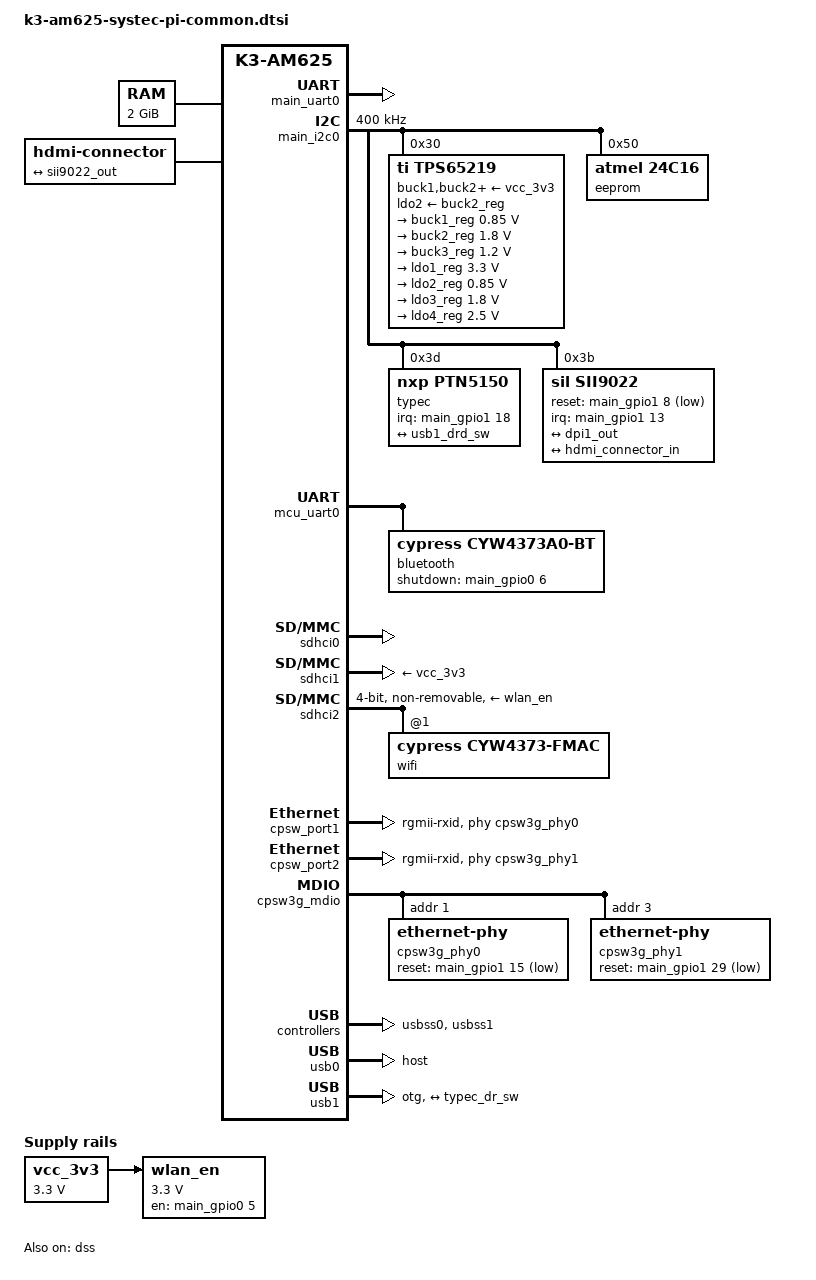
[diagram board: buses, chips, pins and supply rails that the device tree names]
/*
 * Copyright (C) 2023 SYSTEC electronic AG, All Rights Reserved
 *
 * This program is free software; you can redistribute it and/or modify
 * it under the terms of the GNU General Public License version 2 as
 * published by the Free Software Foundation.
 */

/ {
	aliases {
		serial0 = &mcu_uart0;
		serial2 = &main_uart0;
		mmc0 = &sdhci0;
		mmc1 = &sdhci1;
		mmc2 = &sdhci2;
		spi0 = &ospi0;
		ethernet0 = &cpsw_port1;
		ethernet1 = &cpsw_port2;
		usb0 = &usb0;
		usb1 = &usb1;
	};

	chosen {
		stdout-path = "serial2:115200n8";
		bootargs = "console=ttyS2,115200n8 earlycon=ns16550a,mmio32,0x02800000";
	};

	memory@80000000 {
		device_type = "memory";
		/* 2G RAM */
		reg = <0x00000000 0x80000000 0x00000000 0x80000000>;
	};

	reserved-memory {
		#address-cells = <2>;
		#size-cells = <2>;
		ranges;

		ramoops@9c700000 {
			compatible = "ramoops";
			reg = <0x00 0x9c700000 0x00 0x00100000>;
			record-size = <0x8000>;
			console-size = <0x8000>;
			ftrace-size = <0x00>;
			pmsg-size = <0x8000>;
		};

		/* global cma region */
		linux,cma {
			compatible = "shared-dma-pool";
			reusable;
			size = <0x00 0x8000000>;
			linux,cma-default;
		};

		rtos_ipc_memory_region: ipc-memories@9c800000 {
			compatible = "shared-dma-pool";
			reg = <0x00 0x9c800000 0x00 0x00300000>;
			no-map;
		};

		mcu_m4fss_dma_memory_region: m4f-dma-memory@9cb00000 {
			compatible = "shared-dma-pool";
			reg = <0x00 0x9cb00000 0x00 0x100000>;
			no-map;
		};

		mcu_m4fss_memory_region: m4f-memory@9cc00000 {
			compatible = "shared-dma-pool";
			reg = <0x00 0x9cc00000 0x00 0xe00000>;
			no-map;
		};

		wkup_r5fss0_core0_dma_memory_region: r5f-dma-memory@9da00000 {
			compatible = "shared-dma-pool";
			reg = <0x00 0x9da00000 0x00 0x00100000>;
			no-map;
		};

		wkup_r5fss0_core0_memory_region: r5f-memory@9db00000 {
			compatible = "shared-dma-pool";
			reg = <0x00 0x9db00000 0x00 0x00c00000>;
			no-map;
		};

		secure_tfa_ddr: tfa@9e780000 {
			reg = <0x00 0x9e780000 0x00 0x80000>;
			alignment = <0x1000>;
			no-map;
		};

		secure_ddr: optee@9e800000 {
			reg = <0x00 0x9e800000 0x00 0x01800000>; /* for OP-TEE */
			alignment = <0x1000>;
			no-map;
		};

		framebuffer: framebuffer@ff700000 {
			reg = <0x00 0xff700000 0x00 0x008ca000>;
			no-map;
		};
	};

	vcc_3v3: regulator-1 {
		/* from so-dimm pins 137-146 */
		compatible = "regulator-fixed";
		regulator-name = "vcc_3v3";
		regulator-min-microvolt = <3300000>;
		regulator-max-microvolt = <3300000>;
		regulator-always-on;
		regulator-boot-on;
	};

	wlan_en: regulator-3 {
		compatible = "regulator-fixed";
		regulator-name = "wlan_en";
		regulator-min-microvolt = <3300000>;
		regulator-max-microvolt = <3300000>;
		enable-active-high;
		regulator-always-on;
		vin-supply = <&vcc_3v3>;
		gpio = <&main_gpio0 5 GPIO_ACTIVE_HIGH>;
	};

	hdmi0: connector {
		compatible = "hdmi-connector";
		label = "hdmi";
		type = "a";
		port {
			hdmi_connector_in: endpoint {
				remote-endpoint = <&sii9022_out>;
			};
		};
	};
};

&a53_opp_table {
	/* Requires VDD_CORE to be at 0.85V */
	opp-1400000000 {
		opp-hz = /bits/ 64 <1400000000>;
		opp-supported-hw = <0x01 0x0004>;
	};
};

&main_pmx0 {
	// `system0_pins_default` has to be split:

	pmic_irq_pins_default: pmic-irq-pins-default {
		pinctrl-single,pins = <
			AM62X_IOPAD(0x01f4, PIN_INPUT, 0) /* (D16) EXTINTn */
		>;
	};

	ext_refclk0_clkout0: ext-refclk0-clkout0 {
		pinctrl-single,pins = <
			AM62X_IOPAD(0x01f0, PIN_OUTPUT, 5) /* (A18) EXT_REFCLK1.CLKOUT0 */
		>;
	};
};

&wkup_uart0 {
	/* WKUP UART0 is used by DM firmware */
	status = "reserved";
};

// SERVICE
&main_uart0 {
	status = "okay";
	pinctrl-names = "default";
	pinctrl-0 = <&uart0_service_pins_default>;
	interrupts-extended = <&gic500 GIC_SPI 178 IRQ_TYPE_LEVEL_HIGH>,
				<&main_pmx0 0x1c8>; /* (D14) UART0_RXD PADCONFIG114 */
	interrupt-names = "irq", "wakeup";
};

&main_uart1 {
	/* Main UART1 is used by TIFS firmware */
	status = "reserved";
};

&mcu_m4fss {
	mboxes = <&mailbox0_cluster0 &mbox_m4_0>;
	memory-region = <&mcu_m4fss_dma_memory_region>,
			<&mcu_m4fss_memory_region>;
};

&wkup_r5fss0 {
	/* Runs dedicated Device Management firmware */
	status = "reserved";
};

&mailbox0_cluster0 {
	mbox_m4_0: mbox-m4-0 {
		ti,mbox-rx = <0 0 0>;
		ti,mbox-tx = <1 0 0>;
	};
};

&main_i2c0 {
	status = "okay";
	pinctrl-names = "default";
	pinctrl-0 = <&i2c0board_pins_default>;
	clock-frequency = <400000>;

	tps65219: pmic@30 {
		compatible = "ti,tps65219";
		reg = <0x30>;
		buck1-supply = <&vcc_3v3>;
		buck2-supply = <&vcc_3v3>;
		buck3-supply = <&vcc_3v3>;
		ldo1-supply = <&vcc_3v3>;
		ldo2-supply = <&buck2_reg>;
		ldo3-supply = <&vcc_3v3>;
		ldo4-supply = <&vcc_3v3>;

		pinctrl-names = "default";
		pinctrl-0 = <&pmic_irq_pins_default>;

		interrupt-parent = <&gic500>;
		interrupts = <GIC_SPI 224 IRQ_TYPE_LEVEL_HIGH>;
		ti,power-button;

		regulators {
			buck1_reg: buck1 {
				regulator-name = "VDD_CORE";
				regulator-min-microvolt = <850000>;
				regulator-max-microvolt = <850000>;
				regulator-boot-on;
				regulator-always-on;
			};

			buck2_reg: buck2 {
				regulator-name = "VCC1V8_SYS";
				regulator-min-microvolt = <1800000>;
				regulator-max-microvolt = <1800000>;
				regulator-boot-on;
				regulator-always-on;
			};

			buck3_reg: buck3 {
				regulator-name = "VDD_LPDDR4";
				regulator-min-microvolt = <1200000>;
				regulator-max-microvolt = <1200000>;
				regulator-boot-on;
				regulator-always-on;
			};

			ldo1_reg: ldo1 {
				regulator-name = "VDDSHV_SDIO";
				regulator-min-microvolt = <3300000>;
				regulator-max-microvolt = <3300000>;
			};

			ldo2_reg: ldo2 {
				regulator-name = "VDDAR_CORE";
				regulator-min-microvolt = <850000>;
				regulator-max-microvolt = <850000>;
				regulator-boot-on;
				regulator-always-on;
			};

			ldo3_reg: ldo3 {
				regulator-name = "VDDA_1V8";
				regulator-min-microvolt = <1800000>;
				regulator-max-microvolt = <1800000>;
				regulator-boot-on;
				regulator-always-on;
			};

			ldo4_reg: ldo4 {
				regulator-name = "VDD_1V2";
				regulator-min-microvolt = <2500000>;
				regulator-max-microvolt = <2500000>;
				regulator-boot-on;
				regulator-always-on;
			};
		};
	};

	eeprom: eeprom@50 {
		compatible = "atmel,24c16";
		reg = <0x50>;
		pagesize = <16>;
	};

	typec@3d {
		compatible = "nxp,ptn5150";
		reg = <0x3d>;
		interrupt-parent = <&main_gpio1>;
		interrupts = <18 IRQ_TYPE_EDGE_FALLING>;
		status ="okay";

		port {
			typec_dr_sw: endpoint {
				remote-endpoint = <&usb1_drd_sw>;
			};
		};
	};

	sii9022: sii9022@3b {
		#sound-dai-cells = <0>;
		compatible = "sil,sii9022";
		reg = <0x3b>;
        reset-gpios = <&main_gpio1 8 GPIO_ACTIVE_LOW>;

		interrupt-parent = <&main_gpio1>;
		interrupts = <13 IRQ_TYPE_EDGE_FALLING>;

		sil,i2s-data-lanes = <0>;

		ports {
			#address-cells = <1>;
			#size-cells = <0>;

			port@0 {
				reg = <0>;

				sii9022_in: endpoint {
					remote-endpoint = <&dpi1_out>;
				};
			};

			port@1 {
				reg = <1>;

				sii9022_out: endpoint {
					remote-endpoint = <&hdmi_connector_in>;
				};
			};
		};
	};
};

&dss {
    status = "okay";
	pinctrl-names = "default";
	pinctrl-0 = <&hdmi_24bitrgb_pins_default>;
};

&dss_ports {
	/* VP2: DPI Output */
	port@1 {
		reg = <1>;

		dpi1_out: endpoint {
			remote-endpoint = <&sii9022_in>;
		};
	};
};

// Bluetooth
&mcu_uart0 {
	pinctrl-names = "default";
	pinctrl-0 = <&mcuuart0_bluetooth_pins_default>;
	status = "okay";
	uart-has-rtscts;

	bluetooth {
		compatible = "cypress,cyw4373a0-bt";
		max-speed = <921600>;
		shutdown-gpios = <&main_gpio0 6 GPIO_ACTIVE_HIGH>;
	};
};

&sdhci0 {
	pinctrl-names = "default";
	pinctrl-0 = <&mmc0_emmc_pins_default>;
	ti,driver-strength-ohm = <50>;
	disable-wp;
	status = "okay";
	// FixMe: see issue: http://srv-gitlab.intern.systec-electronic.com/132401/hw/4600/-/issues/3
	// reset-gpios = <&main_gpio1 10 GPIO_ACTIVE_LOW>;
};

&sdhci1 {
	/* SD/MMC */
	status = "okay";
	pinctrl-names = "default";
	pinctrl-0 = <&mmc1_sdcard_pins_default>;
	ti,driver-strength-ohm = <50>;
	disable-wp;
	no-1-8-v;
	vmmc-supply = <&vcc_3v3>;
	vqmmc-supply = <&ldo1_reg>;
};

// Wifi
&sdhci2 {
	vmmc-supply = <&wlan_en>;
	pinctrl-names = "default";
	pinctrl-0 = <&mmc2_wifi_pins_default>, <&wkupsystem_pins_default>;
	bus-width = <4>;
	non-removable;
	ti,fails-without-test-cd;
	cap-power-off-card;
	keep-power-in-suspend;
	ti,driver-strength-ohm = <50>;
	assigned-clocks = <&k3_clks 157 158>;
	assigned-clock-parents = <&k3_clks 157 160>;
	#address-cells = <1>;
	#size-cells = <0>;
	status = "okay";

	wifi@1 {
		compatible = "cypress,cyw4373-fmac", "brcm,bcm4329-fmac";
		reg = <1>;
	};
};

&cpsw3g {
	pinctrl-names = "default";
	pinctrl-0 = <&rgmii1_pins_default>, <&rgmii2_pins_default>, <&ext_refclk0_clkout0>;

	// enable EXT_REFCLK1.CLKOUT0
	assigned-clocks = <&k3_clks 157 20>;
	assigned-clock-parents = <&k3_clks 157 22>;
};

&cpsw_port1 {
	phy-mode = "rgmii-rxid";
	phy-handle = <&cpsw3g_phy0>;
};

&cpsw_port2 {
	phy-mode = "rgmii-rxid";
	phy-handle = <&cpsw3g_phy1>;
};

&cpsw3g_mdio {
	status = "okay";
	pinctrl-names = "default";
	pinctrl-0 = <&mdio0_pins_default>;

	cpsw3g_phy0: ethernet-phy@1 {
		reg = <1>;
		reset-gpios = <&main_gpio1 15 GPIO_ACTIVE_LOW>;
		reset-assert-us = <2000>;
		reset-deassert-us = <20000>; /* T2 */
		micrel,led-mode = <1>;
	};

	cpsw3g_phy1: ethernet-phy@3 {
		reg = <3>;
		reset-gpios = <&main_gpio1 29 GPIO_ACTIVE_LOW>;
		reset-assert-us = <2000>;
		reset-deassert-us = <20000>; /* T2 */
		micrel,led-mode = <1>;
	};
};

&usbss0 {
	ti,vbus-divider;
	status = "okay";
	/* usb0-drvvbus-hog ensures the supply of this USB */
};

&usb0 {
	dr_mode = "host";
};

&usbss1 {
	ti,vbus-divider;
	status = "okay";
	/* usb1-drvvbus-hog ensures the supply of this USB */
};

&usb1 {
	dr_mode = "otg";
	hnp-disable;
	srp-disable;
	adp-disable;
	usb-role-switch;
	role-switch-default-mode = "host";

	port@0 {
		usb1_drd_sw: endpoint {
			remote-endpoint = <&typec_dr_sw>;
		};
	};
};
